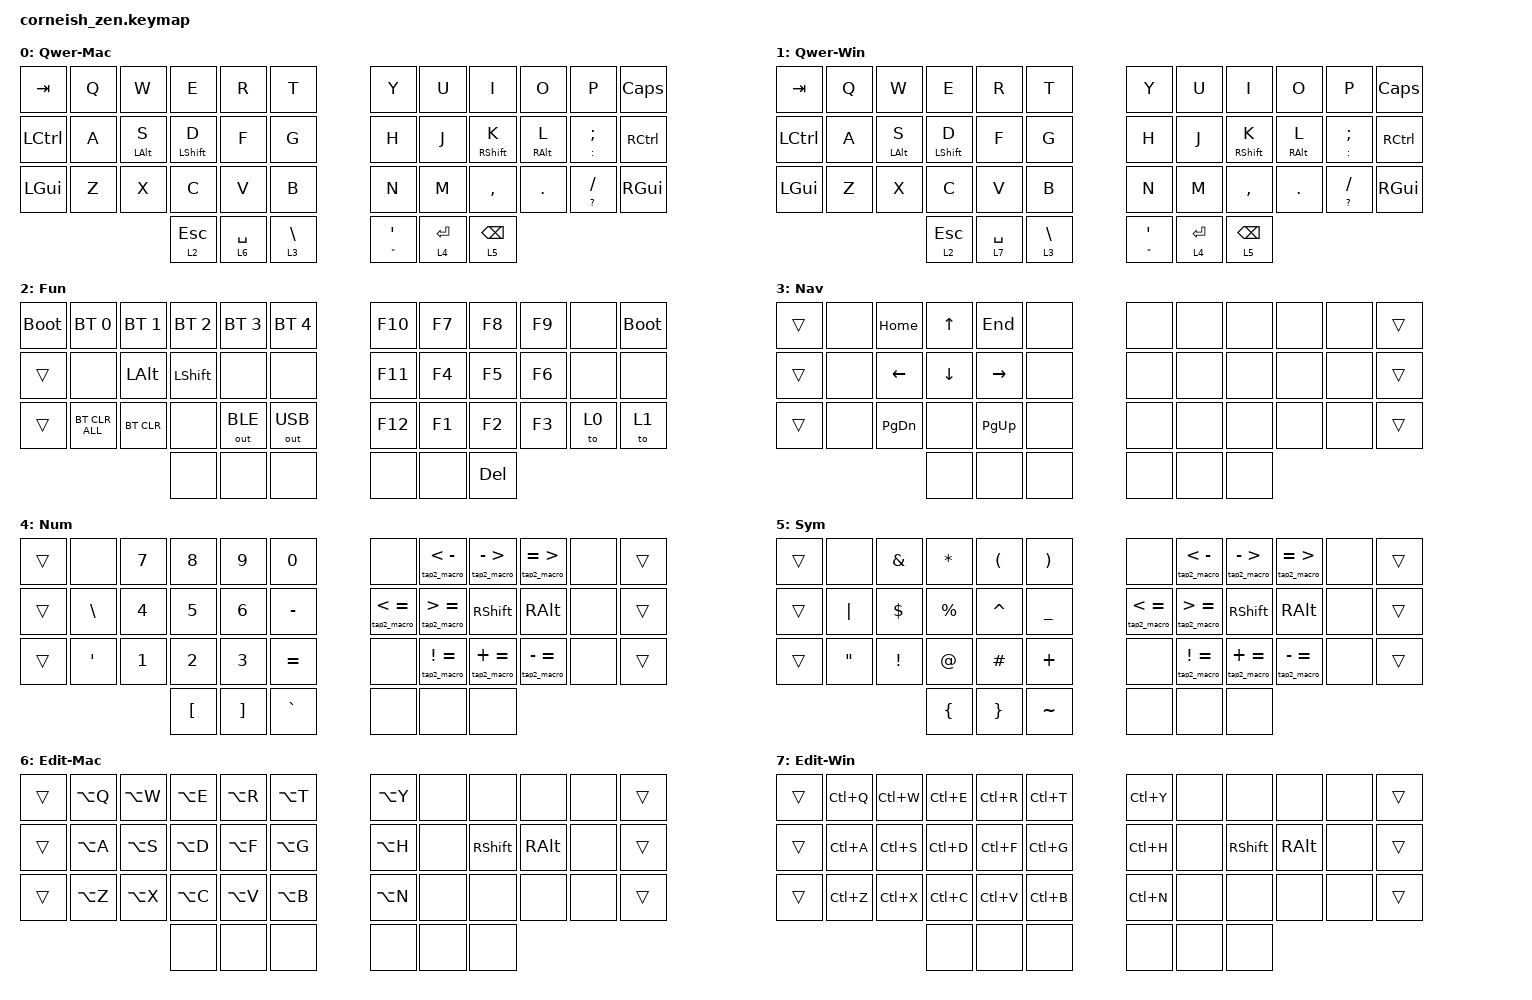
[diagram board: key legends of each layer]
/*
 * Copyright (c) 2020 The ZMK Contributors
 *
 * SPDX-License-Identifier: MIT
 */

#include <behaviors.dtsi>
#include <dt-bindings/zmk/bt.h>
#include <dt-bindings/zmk/keys.h>
#include <dt-bindings/zmk/outputs.h>

/ {
    chosen {
        zmk,matrix_transform = &default_transform;

        // zmk,matrix_transform = &five_column_transform;
    };
};

/ {
    behaviors {
        as: auto_shift {
            compatible = "zmk,behavior-hold-tap";
            label = "AUTO_SHIFT";
            bindings = <&kp>, <&kp>;

            #binding-cells = <2>;
            tapping-term-ms = <160>;
            quick-tap-ms = <130>;
            require-prior-idle-ms = <100>;
            flavor = "tap-preferred";
        };

        hml: homerow_mods_left {
            compatible = "zmk,behavior-hold-tap";
            label = "HOMEROW_MODS_LEFT";
            bindings = <&kp>, <&kp>;

            #binding-cells = <2>;
            tapping-term-ms = <220>;
            quick-tap-ms = <175>;
            require-prior-idle-ms = <60>;
            flavor = "balanced";
            hold-trigger-key-positions = <6 7 8 9 10 11 18 19 20 21 22 23 30 31 32 33 34 35 39 40 41>;
            hold-trigger-on-release;
        };

        hmr: homerow_mods_right {
            compatible = "zmk,behavior-hold-tap";
            label = "HOMEROW_MODS_RIGHT";
            bindings = <&kp>, <&kp>;

            #binding-cells = <2>;
            tapping-term-ms = <220>;
            quick-tap-ms = <175>;
            require-prior-idle-ms = <59>;
            flavor = "balanced";
            hold-trigger-key-positions = <0 1 2 3 4 5 12 13 14 15 16 17 24 25 26 27 28 29 36 37 38>;
            hold-trigger-on-release;
        };

        mol: mo_left {
            compatible = "zmk,behavior-hold-tap";
            label = "MO_LEFT";
            bindings = <&mo>, <&kp>;

            #binding-cells = <2>;
            tapping-term-ms = <220>;
            quick-tap-ms = <175>;
            require-prior-idle-ms = <60>;
            flavor = "balanced";
            hold-trigger-key-positions = <6 7 8 9 10 11 18 19 20 21 22 23 30 31 32 33 34 35 39 40 41>;
            hold-trigger-on-release;
        };

        mor: mo_right {
            compatible = "zmk,behavior-hold-tap";
            label = "MO_RIGHT";
            bindings = <&mo>, <&kp>;

            #binding-cells = <2>;
            tapping-term-ms = <220>;
            quick-tap-ms = <175>;
            require-prior-idle-ms = <60>;
            flavor = "balanced";
            hold-trigger-key-positions = <0 1 2 3 4 5 12 13 14 15 16 17 24 25 26 27 28 29 38 37 36>;
            hold-trigger-on-release;
        };
    };

    macros {
        tap2_macro: tap2_macro {
            compatible = "zmk,behavior-macro-two-param";
            #binding-cells = <2>;
            bindings =
                <&macro_param_1to1>,
                <&macro_tap>,
                <&kp MACRO_PLACEHOLDER &macro_param_2to1>,
                <&macro_tap>,
                <&kp MACRO_PLACEHOLDER>;

            label = "TAP2_MACRO";
        };
    };

    combos { compatible = "zmk,combos"; };

    keymap {
        compatible = "zmk,keymap";

        Qwer-Mac {
            bindings = <
&kp TAB           &kp Q  &kp W            &kp E              &kp R         &kp T               &kp Y                           &kp U          &kp I               &kp O             &kp P               &kp CAPSLOCK
&kp LEFT_CONTROL  &kp A  &hml LEFT_ALT S  &hml LEFT_SHIFT D  &kp F         &kp G               &kp H                           &kp J          &hmr RIGHT_SHIFT K  &hmr RIGHT_ALT L  &as COLON SEMI      &kp RIGHT_CONTROL
&kp LEFT_GUI      &kp Z  &kp X            &kp C              &kp V         &kp B               &kp N                           &kp M          &kp COMMA           &kp DOT           &as QUESTION SLASH  &kp RIGHT_GUI
                                          &mol 2 ESC         &mor 6 SPACE  &mor 3 BACKSLASH    &as DOUBLE_QUOTES SINGLE_QUOTE  &mor 4 RETURN  &mor 5 BACKSPACE
            >;
        };

        Qwer-Win {
            bindings = <
&kp TAB           &kp Q  &kp W            &kp E              &kp R         &kp T               &kp Y                           &kp U          &kp I               &kp O             &kp P               &kp CAPSLOCK
&kp LEFT_CONTROL  &kp A  &hml LEFT_ALT S  &hml LEFT_SHIFT D  &kp F         &kp G               &kp H                           &kp J          &hmr RIGHT_SHIFT K  &hmr RIGHT_ALT L  &as COLON SEMI      &kp RIGHT_CONTROL
&kp LEFT_GUI      &kp Z  &kp X            &kp C              &kp V         &kp B               &kp N                           &kp M          &kp COMMA           &kp DOT           &as QUESTION SLASH  &kp RIGHT_GUI
                                          &mol 2 ESC         &mor 7 SPACE  &mor 3 BACKSLASH    &as DOUBLE_QUOTES SINGLE_QUOTE  &mor 4 RETURN  &mor 5 BACKSPACE
            >;
        };

        Fun {
            bindings = <
&bootloader  &bt BT_SEL 0    &bt BT_SEL 1  &bt BT_SEL 2    &bt BT_SEL 3  &bt BT_SEL 4    &kp F10  &kp F7  &kp F8      &kp F9  &none  &bootloader
&trans       &none           &kp LEFT_ALT  &kp LEFT_SHIFT  &none         &none           &kp F11  &kp F4  &kp F5      &kp F6  &none  &none
&trans       &bt BT_CLR_ALL  &bt BT_CLR    &none           &out OUT_BLE  &out OUT_USB    &kp F12  &kp F1  &kp F2      &kp F3  &to 0  &to 1
                                           &none           &none         &none           &none    &none   &kp DELETE
            >;
        };

        Nav {
            bindings = <
&trans  &none  &kp HOME        &kp UP_ARROW    &kp END          &none    &none  &none  &none  &none  &none  &trans
&trans  &none  &kp LEFT_ARROW  &kp DOWN_ARROW  &kp RIGHT_ARROW  &none    &none  &none  &none  &none  &none  &trans
&trans  &none  &kp PAGE_DOWN   &none           &kp PAGE_UP      &none    &none  &none  &none  &none  &none  &trans
                               &none           &none            &none    &none  &none  &none
            >;
        };

        Num {
            bindings = <
&trans  &none             &kp NUMBER_7  &kp NUMBER_8      &kp NUMBER_9       &kp NUMBER_0    &none                        &tap2_macro LESS_THAN MINUS     &tap2_macro MINUS GREATER_THAN  &tap2_macro EQUAL GREATER_THAN  &none  &trans
&trans  &kp BACKSLASH     &kp NUMBER_4  &kp NUMBER_5      &kp NUMBER_6       &kp MINUS       &tap2_macro LESS_THAN EQUAL  &tap2_macro GREATER_THAN EQUAL  &kp RIGHT_SHIFT                 &kp RIGHT_ALT                   &none  &trans
&trans  &kp SINGLE_QUOTE  &kp NUMBER_1  &kp NUMBER_2      &kp NUMBER_3       &kp EQUAL       &none                        &tap2_macro EXCL EQUAL          &tap2_macro PLUS EQUAL          &tap2_macro MINUS EQUAL         &none  &trans
                                        &kp LEFT_BRACKET  &kp RIGHT_BRACKET  &kp GRAVE       &none                        &none                           &none
            >;
        };

        Sym {
            bindings = <
&trans  &none              &kp AMPERSAND    &kp ASTERISK    &kp LEFT_PARENTHESIS  &kp RIGHT_PARENTHESIS    &none                        &tap2_macro LESS_THAN MINUS     &tap2_macro MINUS GREATER_THAN  &tap2_macro EQUAL GREATER_THAN  &none  &trans
&trans  &kp PIPE           &kp DOLLAR       &kp PERCENT     &kp CARET             &kp UNDERSCORE           &tap2_macro LESS_THAN EQUAL  &tap2_macro GREATER_THAN EQUAL  &kp RIGHT_SHIFT                 &kp RIGHT_ALT                   &none  &trans
&trans  &kp DOUBLE_QUOTES  &kp EXCLAMATION  &kp AT_SIGN     &kp HASH              &kp PLUS                 &none                        &tap2_macro EXCL EQUAL          &tap2_macro PLUS EQUAL          &tap2_macro MINUS EQUAL         &none  &trans
                                            &kp LEFT_BRACE  &kp RIGHT_BRACE       &kp TILDE                &none                        &none                           &none
            >;
        };

        Edit-Mac {
            bindings = <
&trans  &kp LA(Q)  &kp LA(W)  &kp LA(E)  &kp LA(R)  &kp LA(T)    &kp LA(Y)  &none  &none            &none          &none  &trans
&trans  &kp LA(A)  &kp LA(S)  &kp LA(D)  &kp LA(F)  &kp LA(G)    &kp LA(H)  &none  &kp RIGHT_SHIFT  &kp RIGHT_ALT  &none  &trans
&trans  &kp LA(Z)  &kp LA(X)  &kp LA(C)  &kp LA(V)  &kp LA(B)    &kp LA(N)  &none  &none            &none          &none  &trans
                              &none      &none      &none        &none      &none  &none
            >;
        };

        Edit-Win {
            bindings = <
&trans  &kp LC(Q)  &kp LC(W)  &kp LC(E)  &kp LC(R)  &kp LC(T)    &kp LC(Y)  &none  &none            &none          &none  &trans
&trans  &kp LC(A)  &kp LC(S)  &kp LC(D)  &kp LC(F)  &kp LC(G)    &kp LC(H)  &none  &kp RIGHT_SHIFT  &kp RIGHT_ALT  &none  &trans
&trans  &kp LC(Z)  &kp LC(X)  &kp LC(C)  &kp LC(V)  &kp LC(B)    &kp LC(N)  &none  &none            &none          &none  &trans
                              &none      &none      &none        &none      &none  &none
            >;
        };
    };
};
